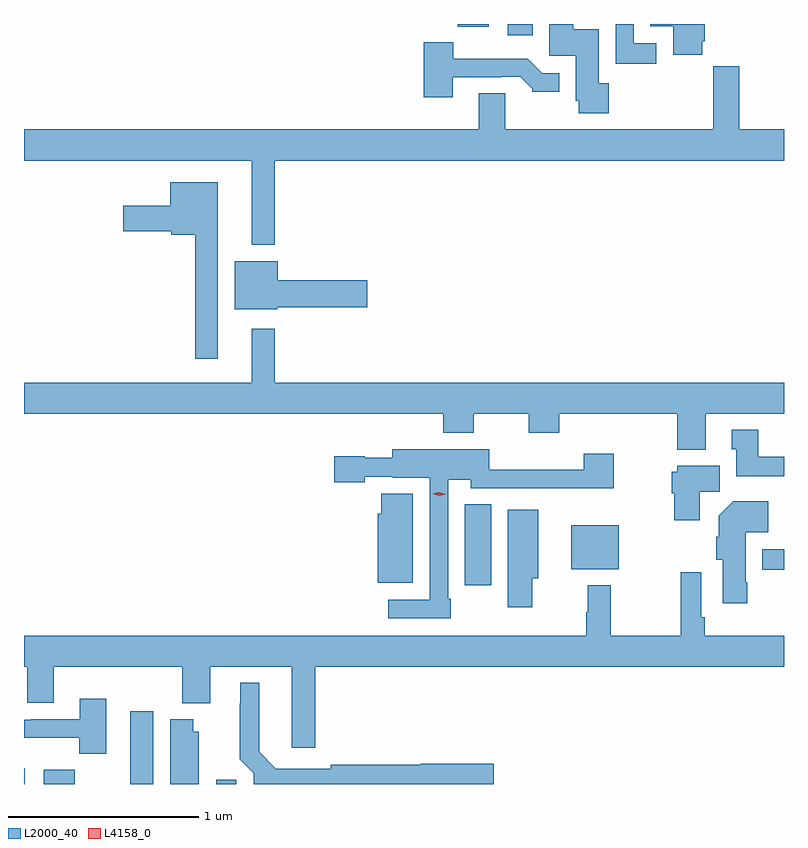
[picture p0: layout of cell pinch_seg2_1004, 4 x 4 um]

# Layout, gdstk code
import gdstk
lib = gdstk.Library(unit=1e-6, precision=1e-09)
def R(c, l, rs):  # rectangles x0, y0, x1, y1
    for r in rs: c.add(gdstk.rectangle(r[:2], r[2:], *l))
def P(c, l, *ps):  # polygons
    for p in ps: c.add(gdstk.Polygon(p, *l))
L2000_40 = (2000, 40)
L4158_0 = (4158, 0)

pinch_seg2_1004 = lib.new_cell('pinch_seg2_1004')
R(pinch_seg2_1004, L2000_40, [(300.456,601.731,300.46,601.813), (300.56,601.731,300.722,601.807), (301.016,601.731,301.135,602.113), (301.469,601.731,301.573,601.753), (302.777,602.778,302.914,603.203), (304.341,602.859,304.456,602.967), (303.335,602.861,303.586,603.094), (303.002,605.673,303.133,605.731), (302.74,605.717,302.902,605.731)])
P(pinch_seg2_1004, L2000_40, [(303.533,605.418),(303.481,605.418),(303.481,605.704),(303.346,605.704),(303.346,605.731),(303.221,605.731),(303.221,605.565),(303.359,605.565),(303.359,605.328),(303.376,605.328),(303.376,605.262),(303.533,605.262)],
  [(303.784,605.631),(303.666,605.631),(303.666,605.731),(303.57,605.731),(303.57,605.523),(303.784,605.523)],
  [(304.025,605.64),(304.039,605.64),(304.039,605.731),(303.751,605.731),(303.751,605.72),(303.872,605.72),(303.872,605.57),(304.025,605.57)],
  [(302.713,605.451),(302.969,605.451),(302.969,605.454),(303.068,605.454),(303.132,605.39),(303.132,605.375),(303.274,605.375),(303.274,605.472),(303.183,605.472),(303.107,605.548),(302.716,605.548),(302.716,605.635),(302.561,605.635),(302.561,605.346),(302.713,605.346)],
  [(301.777,605.012),(304.456,605.012),(304.456,605.176),(304.22,605.176),(304.22,605.509),(304.084,605.509),(304.084,605.176),(302.989,605.176),(302.989,605.366),(302.849,605.366),(302.849,605.176),(300.456,605.176),(300.456,605.012),(301.655,605.012),(301.655,604.568),(301.777,604.568)],
  [(301.477,604.897),(301.226,604.897),(301.226,604.774),(300.978,604.774),(300.978,604.64),(301.23,604.64),(301.23,604.622),(301.356,604.622),(301.356,603.969),(301.477,603.969)],
  [(301.788,604.24),(302.263,604.24),(302.263,604.382),(301.792,604.382),(301.792,604.483),(301.565,604.483),(301.565,604.229),(301.788,604.229)],
  [(304.045,603.68),(304.456,603.68),(304.456,603.844),(301.777,603.844),(301.777,604.126),(301.655,604.126),(301.655,603.844),(300.456,603.844),(300.456,603.68),(302.663,603.68),(302.663,603.581),(302.823,603.581),(302.823,603.68),(303.112,603.68),(303.112,603.581),(303.272,603.581),(303.272,603.68),(303.893,603.68),(303.893,603.491),(304.045,603.491)],
  [(304.456,603.454),(304.321,603.454),(304.321,603.595),(304.181,603.595),(304.181,603.492),(304.205,603.492),(304.205,603.35),(304.456,603.35)],
  [(302.701,602.707),(302.688,602.707),(302.688,603.332),(302.808,603.332),(302.808,603.288),(303.317,603.288),(303.317,603.287),(303.561,603.287),(303.561,603.469),(303.401,603.469),(303.401,603.386),(302.904,603.386),(302.904,603.493),(302.393,603.493),(302.393,603.447),(302.25,603.447),(302.25,603.457),(302.088,603.457),(302.088,603.32),(302.25,603.32),(302.25,603.348),(302.397,603.348),(302.397,603.344),(302.592,603.344),(302.592,602.7),(302.373,602.7),(302.373,602.604),(302.701,602.604)],
  [(304.012,603.268),(304.117,603.268),(304.117,603.406),(303.894,603.406),(303.894,603.375),(303.865,603.375),(303.865,603.261),(303.878,603.261),(303.878,603.12),(304.012,603.12)],
  [(302.503,603.259),(302.336,603.259),(302.336,603.153),(302.318,603.153),(302.318,602.789),(302.503,602.789)],
  [(304.263,602.794),(304.255,602.794),(304.255,603.056),(304.373,603.056),(304.373,603.22),(304.19,603.22),(304.112,603.142),(304.112,603.032),(304.1,603.032),(304.1,602.91),(304.133,602.91),(304.133,602.682),(304.263,602.682)],
  [(303.132,602.813),(303.163,602.813),(303.163,603.175),(303.002,603.175),(303.002,602.661),(303.132,602.661)],
  [(301.988,602.348),(304.456,602.348),(304.456,602.512),(304.04,602.512),(304.04,602.608),(304.02,602.608),(304.02,602.845),(303.912,602.845),(303.912,602.512),(303.544,602.512),(303.544,602.776),(303.423,602.776),(303.423,602.636),(303.415,602.636),(303.415,602.512),(300.456,602.512),(300.456,602.348),(300.473,602.348),(300.473,602.158),(300.613,602.158),(300.613,602.348),(301.288,602.348),(301.288,602.156),(301.435,602.156),(301.435,602.348),(301.865,602.348),(301.865,601.923),(301.988,601.923)],
  [(302.929,601.838),(302.544,601.838),(302.544,601.832),(302.071,601.832),(302.071,601.812),(301.78,601.812),(301.693,601.9),(301.693,602.263),(301.595,602.263),(301.595,602.153),(301.591,602.153),(301.591,601.862),(301.665,601.788),(301.665,601.731),(302.929,601.731)],
  [(300.889,602.179),(300.749,602.179),(300.749,602.073),(300.493,602.073),(300.493,602.07),(300.456,602.07),(300.456,601.974),(300.747,601.974),(300.747,601.889),(300.889,601.889)],
  [(301.375,602.007),(301.348,602.007),(301.348,602.071),(301.226,602.071),(301.226,601.731),(301.375,601.731)])
P(pinch_seg2_1004, L4158_0, [(302.64,603.247),(302.606,603.258),(302.606,603.258),(302.606,603.258),(302.64,603.267),(302.675,603.257),(302.675,603.256),(302.675,603.256)])

lib.write_gds('pinch_seg2_1004.gds')
